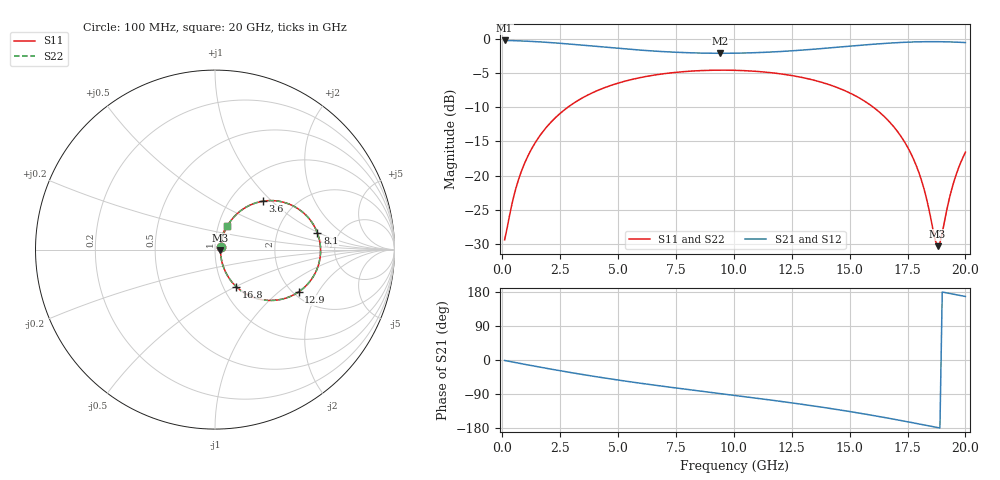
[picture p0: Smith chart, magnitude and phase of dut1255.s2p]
! Touchstone file exported from HFSS 2026.1.0
!  File:  C:/ffzhzh/LocalFiles/Ansys_Project_Files/temp_train_TSV_RDL_1255_1783326231_30076.aedt
!  Generated:  04:33:33 PM Jul  6, 2026
!  Design:  TSV_RDL
!  Project:  temp_train_TSV_RDL_1255_1783326231_30076
! Variables:
!  h_bsmrdl = 2.26um
!  h_ox = 20um
!  h_rdl = 5um
!  h_sub = 79.28um
!  h_tmrdl = 3.81um
!  h_tsv = 79.28um
!  h_via = 3um
!  l_bsmrdl = 647.34um
!  l_sub = 2854.8um
!  l_tmrdl = 111.02um
!  m_sub = 200um
!  pitch = 45.86um
!  r_tsv = 12.79um
!  s_tmrdl = 10um
!  w_bsmrdl = 10.85um
!  w_sub = 500um
!  w_tmrdl = 12.05um
!  x_tsv_center1 = 117.045um
!  x_tsv_center2 = 775.235um
!  x_tsv_center3 = 898.305um
!  x_tsv_center4 = 1556.495um
!  x_tsv_center5 = 1679.565um
!  x_tsv_center6 = 2337.755um
# GHz S MA R 50.000000
! Terminal data exported
! Port[1] = TM_RDL1_1_T1
! Port[2] = TM_RDL5_1_T1
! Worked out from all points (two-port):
!   200 points, 100 MHz to 20 GHz, reference 50 ohm
!   highest |S21| = -0.28 dB at 100 MHz (marker M1); lowest = -2.1 dB at 9.4 GHz (marker M2)
!   |S21| within 3 dB of the highest: start of sweep to end of sweep
!   lowest |S11| = -30.3 dB at 18.8 GHz (marker M3), VSWR 1.06, Z = 53.2 - j0.196 ohm
!   |S11| at or under -10 dB: start of sweep to 2.837 GHz; 16.02 GHz to end of sweep
!   |S22| runs from -30.3 to -4.6 dB; largest |S21 - S12| = 2.8e-14
!   S11 on the Smith chart (normalised r, x): 100 MHz: 1.07, +0.03; 3.6 GHz: 1.41, +0.89; 8.1 GHz: 3.45, +0.96; 12.9 GHz: 2.14, -1.38; 16.8 GHz: 1.15, -0.51; 20 GHz: 1.10, +0.30
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0.1  0.0341 21.0  0.9683 -1.2  0.9683 -1.2  0.0341 21.0
! Gamma 0 0 0 0
! Port Impedance 50 0 50 0
0.6  0.0824 58.9  0.9637 -7.2  0.9637 -7.2  0.0824 58.9
1.3  0.1607 62.1  0.9521 -15.2  0.9521 -15.2  0.1607 62.1
2.2  0.2556 56.8  0.9314 -25.1  0.9314 -25.1  0.2556 56.8
3.5  0.3725 46.0  0.8935 -38.7  0.8935 -38.7  0.3725 46.0
3.6  0.3804 45.2  0.8905 -39.7  0.8905 -39.7  0.3804 45.2
6.8  0.5491 19.0  0.8056 -68.2  0.8056 -68.2  0.5491 19.0
8.1  0.5781 9.2  0.7873 -78.5  0.7873 -78.5  0.5781 9.2
9.4  0.5883 -0.3  0.7808 -88.5  0.7808 -88.5  0.5883 -0.3
10.1  0.5863 -5.5  0.7823 -93.9  0.7823 -93.9  0.5863 -5.5
12.9  0.5222 -26.8  0.8225 -116.5  0.8225 -116.5  0.5222 -26.8
13.4  0.4999 -30.9  0.8347 -120.9  0.8347 -120.9  0.5 -30.9
15.3  0.3786 -47.3  0.8886 -139.0  0.8886 -139.0  0.3786 -47.3
16.7  0.2492 -59.4  0.9259 -153.9  0.9259 -153.9  0.2492 -59.4
16.8  0.2388 -60.1  0.9281 -155.0  0.9281 -155.0  0.2388 -60.2
17.4  0.1732 -63.9  0.9394 -161.8  0.9394 -161.8  0.1732 -64.0
17.9  0.116 -64.5  0.9458 -167.6  0.9458 -167.6  0.116 -64.5
18.3  0.07047 -58.6  0.9485 -172.3  0.9485 -172.3  0.07044 -58.7
18.8  0.03067 -3.4  0.9487 -178.2  0.9487 -178.2  0.03055 -3.5
18.9  0.03242 17.9  0.9483 -179.4  0.9483 -179.4  0.03229 17.9
19.5  0.09011 61.9  0.9429 173.5  0.9429 173.5  0.09004 62.0
20  0.1484 64.2  0.9347 167.6  0.9347 167.6  0.1483 64.2
